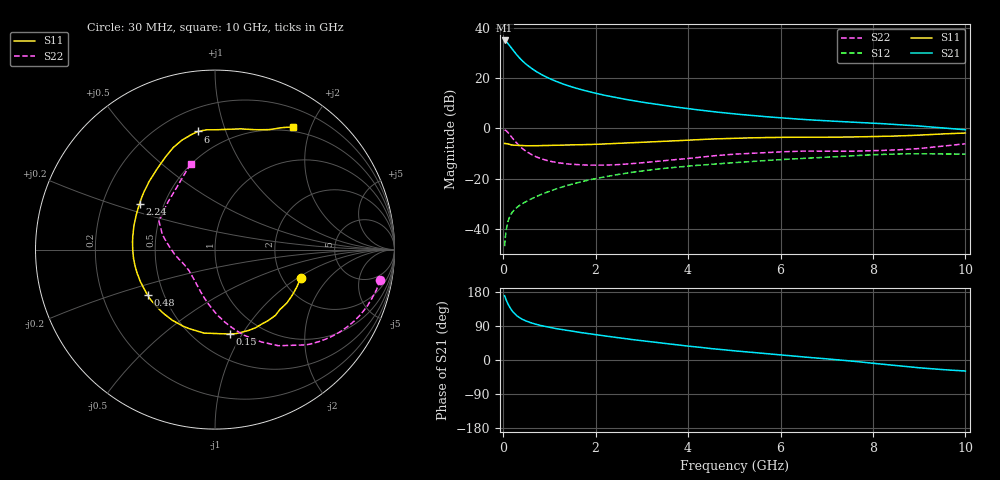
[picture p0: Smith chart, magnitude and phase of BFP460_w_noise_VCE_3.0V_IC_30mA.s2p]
! (c) 2016  Infineon Technologies AG, Munich
! Infineon Technologies  Discrete & RF Semiconductors
! BFP460
! VCE =  3.0 V,  IC =  30 mA
! Common Emitter S-Parameters:  Jan 2016
# GHz  S  MA  R  50
!  f  S11  S21  S12  S22
! GHz  MAG  ANG  MAG  ANG  MAG  ANG  MAG  ANG
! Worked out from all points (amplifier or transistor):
!   229 points, 30 MHz to 10 GHz, reference 50 ohm
!   highest |S21| = 34.9 dB at 30 MHz (marker M1)
!   |S21| within 3 dB of that: start of sweep to 177.6 MHz
!   unconditionally stable (mu >= 1): 1.499 GHz to 7.641 GHz
!   at 280 MHz: K = 0.51, MSG = 30.6 dB, |S12| = -31.6 dB
!   at 1.78 GHz: K = 1.02, MAG = 17.1 dB, |S12| = -20.8 dB
!   at 10 GHz: K = 0.97, MSG = 4.8 dB, |S12| = -10.2 dB
!   lowest NFmin = 1.47 dB at 450 MHz
!   S11 on the Smith chart (normalised r, x): 30 MHz: 2.50, -1.07; 150 MHz: 0.73, -0.88; 480 MHz: 0.41, -0.26; 2.24 GHz: 0.36, +0.25; 6 GHz: 0.34, +0.81; 10 GHz: 0.44, +1.73
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0.03  0.5028 -18.5  55.48 169.7  0.0046 84.0  0.9345 -10.4
0.05  0.4999 -30.4  53.71 162.9  0.0075 80.3  0.9158 -17.2
0.07  0.4922 -42.8  52.14 156.7  0.0103 75.0  0.8881 -24.1
0.09  0.494 -53.3  49.87 151.3  0.0126 72.0  0.8524 -30.4
0.12  0.4877 -67.5  46.18 143.8  0.0159 67.1  0.7936 -38.9
0.15  0.4777 -80.1  42.46 137.2  0.0185 63.5  0.7335 -46.4
0.2  0.4691 -97.5  36.9 128.4  0.022 59.6  0.6413 -56.6
0.26  0.4621 -112.9  31.36 120.6  0.0253 57.1  0.5508 -66.0
0.3  0.4598 -121.4  28.28 116.2  0.0272 56.2  0.5009 -71.6
0.4  0.4541 -137.1  22.5 108.2  0.0315 55.7  0.4092 -82.1
0.48  0.4527 -146.0  19.27 103.7  0.0347 56.1  0.3588 -88.6
0.68  0.4526 -161.8  14.06 95.2  0.0429 57.8  0.2813 -101.3
0.9  0.4565 -173.2  10.77 88.6  0.0522 59.1  0.2369 -111.8
1.2  0.4608 175.4  8.17 81.7  0.0653 59.7  0.207 -122.8
1.7  0.4732 161.2  5.825 72.1  0.0876 58.3  0.1888 -136.1
2.24  0.4925 148.6  4.448 62.9  0.1114 55.0  0.1872 -148.5
3.4  0.5476 127.2  2.922 45.2  0.1577 45.6  0.2235 -172.4
5.1  0.6403 105.7  1.899 23.2  0.2119 32.5  0.3106 162.3
6  0.665 98.1  1.619 13.3  0.24 25.7  0.342 154.8
6.8  0.6677 91.3  1.445 5.1  0.2622 19.9  0.3528 151.1
8.4  0.7005 72.7  1.209 -13.4  0.3084 5.6  0.3709 135.4
10  0.8087 57.6  0.939 -29.1  0.3079 -7.1  0.4945 106.0
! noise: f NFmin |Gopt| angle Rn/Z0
0.45  1.47  0.19  -172  0.12
0.9  1.49  0.17  -164  0.13
1.9  1.61  0.28  -144  0.13
3.5  1.51  0.49  -120  0.18
